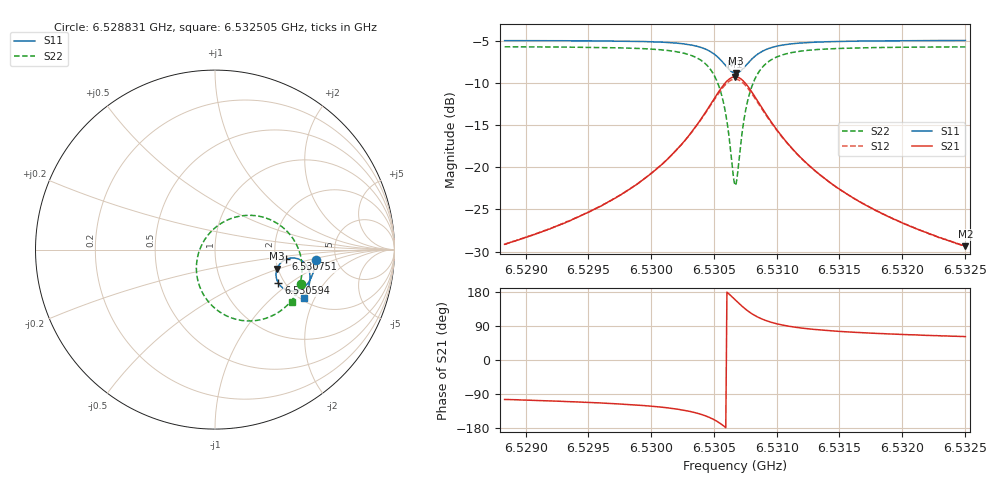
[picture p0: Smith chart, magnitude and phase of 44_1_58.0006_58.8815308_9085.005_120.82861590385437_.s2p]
#  HZ  S  RI  R  50.00
! Rohde & Schwarz Vector Network Analyzer
! Rohde-Schwarz,ZNB20-2Port,1311601062101988,3.16
! Created: UTC 3/21/2024, 12:52:12 AM
! freq[Hz]  re:S11  im:S11  re:S21  im:S21  re:S12  im:S12  re:S22  im:S22
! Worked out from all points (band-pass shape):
!   401 points, 6.528831 GHz to 6.532505 GHz, reference 50 ohm
!   highest |S21| = -9.26 dB at 6.530668 GHz (marker M1); lowest = -29.4 dB at 6.532505 GHz (marker M2)
!   |S21| within 3 dB of the highest: 6.530485 GHz to 6.530853 GHz (367.8 kHz wide, 0.00563 % of centre)
!   lowest |S11| = -8.8 dB at 6.530677 GHz (marker M3), VSWR 2.13, Z = 98.9 - j24.2 ohm
!   |S11| at or under -10 dB: nowhere
!   |S22| runs from -22.2 to -5.7 dB; largest |S21 - S12| = 0.015
!   S11 on the Smith chart (normalised r, x): 6.528831 GHz: 3.47, -0.60; 6.530594 GHz: 1.85, -0.83; 6.530751 GHz: 2.28, -0.29; 6.532505 GHz: 2.07, -1.66
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6.5288313e9  0.5607 -0.0594  -0.00853 -0.0338  -0.0092 -0.0337  0.4818 -0.1913
6.5294466e9  0.5512 -0.1127  -0.0188 -0.0485  -0.02 -0.048  0.4489 -0.2532
6.529768e9  0.5412 -0.1446  -0.0309 -0.0622  -0.0326 -0.0615  0.4169 -0.2948
6.5300619e9  0.5234 -0.1794  -0.0559 -0.0833  -0.0582 -0.0818  0.3606 -0.3445
6.5302731e9  0.4952 -0.2101  -0.0998 -0.1059  -0.1032 -0.1023  0.2715 -0.3865
6.5304384e9  0.4437 -0.2309  -0.1824 -0.1135  -0.1851 -0.1056  0.1198 -0.389
6.5305302e9  0.3923 -0.2221  -0.263 -0.0801  -0.2612 -0.0682  -0.0131 -0.3156
6.5305669e9  0.369 -0.2061  -0.2975 -0.0455  -0.2925 -0.0332  -0.0647 -0.2501
6.5305945e9  0.3537 -0.1874  -0.3189 -0.00885  -0.3109 0.00284  -0.0926 -0.1842
6.5306496e9  0.34 -0.135  -0.3312 0.0874  -0.3182 0.0941  -0.0929 -0.0233
6.530668e9  0.3427 -0.1157  -0.3224 0.1213  -0.309 0.1253  -0.0719 0.0303
6.5306772e9  0.3457 -0.1063  -0.3156 0.1374  -0.302 0.1402  -0.0575 0.0553
6.5306955e9  0.3544 -0.089  -0.2974 0.1671  -0.2844 0.1675  -0.0221 0.1003
6.5307139e9  0.3662 -0.0742  -0.2745 0.1919  -0.2626 0.1904  0.02 0.1368
6.5307506e9  0.3952 -0.0542  -0.2211 0.2247  -0.2123 0.2207  0.1136 0.181
6.5308149e9  0.4452 -0.0476  -0.1334 0.235  -0.1289 0.2308  0.2623 0.1822
6.5309067e9  0.4916 -0.0679  -0.0547 0.2038  -0.0529 0.2014  0.3908 0.1123
6.5310445e9  0.5201 -0.1056  -0.00633 0.1515  -0.00506 0.1503  0.4638 0.00577
6.5312833e9  0.5296 -0.1526  0.015 0.0975  0.0161 0.0972  0.4854 -0.1058
6.5315679e9  0.5259 -0.1899  0.0188 0.066  0.0197 0.0658  0.4769 -0.1779
6.5318986e9  0.5167 -0.2229  0.0184 0.0472  0.0192 0.0469  0.4604 -0.229
6.5325047e9  0.4956 -0.2718  0.0161 0.0299  0.0168 0.0297  0.4291 -0.2897
